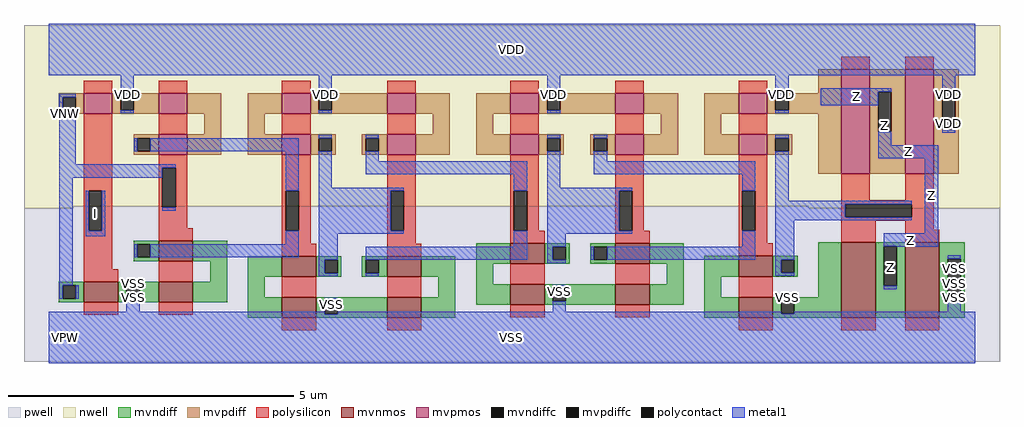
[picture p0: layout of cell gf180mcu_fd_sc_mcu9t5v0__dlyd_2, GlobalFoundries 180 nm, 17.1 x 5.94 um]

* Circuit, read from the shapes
.subckt gf180mcu_fd_sc_mcu9t5v0__dlyd_2 I Z VDD VNW VPW VSS
XM1 VSS I n1 VPW nfet_06v0 w=0.36u l=0.6u
XM2 n2 n1 VSS VPW nfet_06v0 w=0.36u l=0.6u
XM3 n2 n1 n3 VPW nfet_06v0 w=0.36u l=0.6u
XM4 VSS n3 n4 VPW nfet_06v0 w=0.36u l=0.6u
XM5 n5 n3 n4 VPW nfet_06v0 w=0.36u l=0.6u
XM6 n6 n5 VSS VPW nfet_06v0 w=0.36u l=0.6u
XM7 n6 n5 n7 VPW nfet_06v0 w=0.36u l=0.6u
XM8 VSS n7 n8 VPW nfet_06v0 w=0.36u l=0.6u
XM9 n9 n7 n8 VPW nfet_06v0 w=0.36u l=0.6u
XM10 n10 n9 VSS VPW nfet_06v0 w=0.36u l=0.6u
XM11 n10 n9 n11 VPW nfet_06v0 w=0.36u l=0.6u
XM12 VSS n11 n12 VPW nfet_06v0 w=0.36u l=0.6u
XM13 n13 n11 n12 VPW nfet_06v0 w=0.36u l=0.6u
XM14 Z n13 VSS VPW nfet_06v0 w=1.32u l=0.6u m=2
XM15 VDD I n1 VNW pfet_06v0 w=0.36u l=0.5u
XM16 n14 n1 n3 VNW pfet_06v0 w=0.36u l=0.5u
XM17 n14 n1 VDD VNW pfet_06v0 w=0.36u l=0.5u
XM18 n5 n3 n15 VNW pfet_06v0 w=0.36u l=0.5u
XM19 VDD n3 n15 VNW pfet_06v0 w=0.36u l=0.5u
XM20 n16 n5 n7 VNW pfet_06v0 w=0.36u l=0.5u
XM21 n16 n5 VDD VNW pfet_06v0 w=0.36u l=0.5u
XM22 n9 n7 n17 VNW pfet_06v0 w=0.36u l=0.5u
XM23 VDD n7 n17 VNW pfet_06v0 w=0.36u l=0.5u
XM24 n18 n9 n11 VNW pfet_06v0 w=0.36u l=0.5u
XM25 n18 n9 VDD VNW pfet_06v0 w=0.36u l=0.5u
XM26 n13 n11 n19 VNW pfet_06v0 w=0.36u l=0.5u
XM27 VDD n11 n19 VNW pfet_06v0 w=0.36u l=0.5u
XM28 Z n13 VDD VNW pfet_06v0 w=1.83u l=0.5u m=2
.ends

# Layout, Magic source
magic
tech gf180mcuD
magscale 1 10
<< nwell >>
rect -86 459 3334 1094
rect -86 453 86 459
rect 2663 453 3334 459
<< pwell >>
rect 86 453 2663 459
rect -86 -86 3334 453
<< mvnmos >>
rect 386 267 506 339
rect 124 123 244 195
rect 386 123 506 195
rect 818 212 938 284
rect 1186 212 1306 284
rect 818 68 938 140
rect 1186 68 1306 140
rect 1618 258 1738 330
rect 1986 258 2106 330
rect 1618 114 1738 186
rect 1986 114 2106 186
rect 2418 213 2538 285
rect 2418 69 2538 141
rect 2778 69 2898 333
rect 3002 69 3122 333
<< mvpmos >>
rect 124 783 224 855
rect 386 783 486 855
rect 386 639 486 711
rect 818 783 918 855
rect 1186 783 1286 855
rect 818 639 918 711
rect 1186 639 1286 711
rect 1618 783 1718 855
rect 1986 783 2086 855
rect 1618 639 1718 711
rect 1986 639 2086 711
rect 2418 783 2518 855
rect 2418 639 2518 711
rect 2778 574 2878 940
rect 3002 574 3102 940
<< mvndiff >>
rect 298 326 386 339
rect 298 280 311 326
rect 357 280 386 326
rect 298 267 386 280
rect 506 267 626 339
rect 566 195 626 267
rect 36 182 124 195
rect 36 136 49 182
rect 95 136 124 182
rect 36 123 124 136
rect 244 182 386 195
rect 244 136 273 182
rect 319 136 386 182
rect 244 123 386 136
rect 506 123 626 195
rect 698 212 818 284
rect 938 271 1026 284
rect 938 225 967 271
rect 1013 225 1026 271
rect 938 212 1026 225
rect 1098 271 1186 284
rect 1098 225 1111 271
rect 1157 225 1186 271
rect 1098 212 1186 225
rect 1306 212 1426 284
rect 698 140 758 212
rect 1366 140 1426 212
rect 698 68 818 140
rect 938 127 1186 140
rect 938 81 967 127
rect 1013 81 1186 127
rect 938 68 1186 81
rect 1306 68 1426 140
rect 1498 258 1618 330
rect 1738 317 1826 330
rect 1738 271 1767 317
rect 1813 271 1826 317
rect 1738 258 1826 271
rect 1898 317 1986 330
rect 1898 271 1911 317
rect 1957 271 1986 317
rect 1898 258 1986 271
rect 2106 258 2226 330
rect 1498 186 1558 258
rect 2166 186 2226 258
rect 1498 114 1618 186
rect 1738 173 1986 186
rect 1738 127 1767 173
rect 1813 127 1986 173
rect 1738 114 1986 127
rect 2106 114 2226 186
rect 2298 213 2418 285
rect 2538 272 2626 285
rect 2538 226 2567 272
rect 2613 226 2626 272
rect 2538 213 2626 226
rect 2298 141 2358 213
rect 2698 141 2778 333
rect 2298 69 2418 141
rect 2538 128 2778 141
rect 2538 82 2567 128
rect 2613 82 2778 128
rect 2538 69 2778 82
rect 2898 320 3002 333
rect 2898 180 2927 320
rect 2973 180 3002 320
rect 2898 69 3002 180
rect 3122 276 3210 333
rect 3122 136 3151 276
rect 3197 136 3210 276
rect 3122 69 3210 136
<< mvpdiff >>
rect 2698 855 2778 940
rect 36 842 124 855
rect 36 796 49 842
rect 95 796 124 842
rect 36 783 124 796
rect 224 842 386 855
rect 224 796 253 842
rect 299 796 386 842
rect 224 783 386 796
rect 486 783 606 855
rect 546 711 606 783
rect 298 698 386 711
rect 298 652 311 698
rect 357 652 386 698
rect 298 639 386 652
rect 486 639 606 711
rect 698 783 818 855
rect 918 842 1186 855
rect 918 796 947 842
rect 993 796 1186 842
rect 918 783 1186 796
rect 1286 783 1406 855
rect 698 711 758 783
rect 1346 711 1406 783
rect 698 639 818 711
rect 918 698 1006 711
rect 918 652 947 698
rect 993 652 1006 698
rect 918 639 1006 652
rect 1098 698 1186 711
rect 1098 652 1111 698
rect 1157 652 1186 698
rect 1098 639 1186 652
rect 1286 639 1406 711
rect 1498 783 1618 855
rect 1718 842 1986 855
rect 1718 796 1747 842
rect 1793 796 1986 842
rect 1718 783 1986 796
rect 2086 783 2206 855
rect 1498 711 1558 783
rect 2146 711 2206 783
rect 1498 639 1618 711
rect 1718 698 1806 711
rect 1718 652 1747 698
rect 1793 652 1806 698
rect 1718 639 1806 652
rect 1898 698 1986 711
rect 1898 652 1911 698
rect 1957 652 1986 698
rect 1898 639 1986 652
rect 2086 639 2206 711
rect 2298 783 2418 855
rect 2518 842 2778 855
rect 2518 796 2547 842
rect 2593 796 2778 842
rect 2518 783 2778 796
rect 2298 711 2358 783
rect 2298 639 2418 711
rect 2518 698 2606 711
rect 2518 652 2547 698
rect 2593 652 2606 698
rect 2518 639 2606 652
rect 2698 574 2778 783
rect 2878 861 3002 940
rect 2878 721 2907 861
rect 2953 721 3002 861
rect 2878 574 3002 721
rect 3102 868 3190 940
rect 3102 728 3131 868
rect 3177 728 3190 868
rect 3102 574 3190 728
<< mvndiffc >>
rect 311 280 357 326
rect 49 136 95 182
rect 273 136 319 182
rect 967 225 1013 271
rect 1111 225 1157 271
rect 967 81 1013 127
rect 1767 271 1813 317
rect 1911 271 1957 317
rect 1767 127 1813 173
rect 2567 226 2613 272
rect 2567 82 2613 128
rect 2927 180 2973 320
rect 3151 136 3197 276
<< mvpdiffc >>
rect 49 796 95 842
rect 253 796 299 842
rect 311 652 357 698
rect 947 796 993 842
rect 947 652 993 698
rect 1111 652 1157 698
rect 1747 796 1793 842
rect 1747 652 1793 698
rect 1911 652 1957 698
rect 2547 796 2593 842
rect 2547 652 2593 698
rect 2907 721 2953 861
rect 3131 728 3177 868
<< polysilicon >>
rect 2778 940 2878 984
rect 3002 940 3102 984
rect 124 855 224 899
rect 386 855 486 899
rect 818 855 918 899
rect 1186 855 1286 899
rect 1618 855 1718 899
rect 1986 855 2086 899
rect 2418 855 2518 899
rect 124 514 224 783
rect 386 711 486 783
rect 818 711 918 783
rect 1186 711 1286 783
rect 1618 711 1718 783
rect 1986 711 2086 783
rect 2418 711 2518 783
rect 124 374 141 514
rect 187 374 224 514
rect 124 239 224 374
rect 386 595 486 639
rect 386 455 399 595
rect 445 455 486 595
rect 386 383 486 455
rect 818 514 918 639
rect 386 339 506 383
rect 818 374 831 514
rect 877 374 918 514
rect 818 328 918 374
rect 1186 514 1286 639
rect 1186 374 1199 514
rect 1245 374 1286 514
rect 1186 328 1286 374
rect 1618 514 1718 639
rect 1618 374 1631 514
rect 1677 374 1718 514
rect 1986 514 2086 639
rect 1986 374 1999 514
rect 2045 374 2086 514
rect 2418 514 2518 639
rect 2418 374 2431 514
rect 2477 374 2518 514
rect 1618 330 1738 374
rect 1986 330 2106 374
rect 818 284 938 328
rect 1186 284 1306 328
rect 124 195 244 239
rect 386 195 506 267
rect 818 140 938 212
rect 1186 140 1306 212
rect 124 79 244 123
rect 386 79 506 123
rect 2418 329 2518 374
rect 2778 480 2878 574
rect 3002 480 3102 574
rect 2778 467 3102 480
rect 2778 421 2791 467
rect 3025 421 3102 467
rect 2778 408 3102 421
rect 2778 333 2898 408
rect 3002 377 3102 408
rect 3002 333 3122 377
rect 2418 285 2538 329
rect 1618 186 1738 258
rect 1986 186 2106 258
rect 2418 141 2538 213
rect 1618 70 1738 114
rect 1986 70 2106 114
rect 818 24 938 68
rect 1186 24 1306 68
rect 2418 25 2538 69
rect 2778 25 2898 69
rect 3002 25 3122 69
<< polycontact >>
rect 141 374 187 514
rect 399 455 445 595
rect 831 374 877 514
rect 1199 374 1245 514
rect 1631 374 1677 514
rect 1999 374 2045 514
rect 2431 374 2477 514
rect 2791 421 3025 467
<< metal1 >>
rect 0 918 3248 1098
rect 38 842 95 853
rect 38 796 49 842
rect 38 606 95 796
rect 253 842 299 918
rect 253 785 299 796
rect 947 842 993 918
rect 947 785 993 796
rect 1747 842 1793 918
rect 1747 785 1793 796
rect 2547 842 2593 918
rect 2706 861 2953 872
rect 2706 814 2907 861
rect 2547 785 2593 796
rect 947 698 993 709
rect 300 652 311 698
rect 357 652 877 698
rect 38 595 445 606
rect 38 560 399 595
rect 38 182 84 560
rect 130 374 141 514
rect 187 374 198 514
rect 399 444 445 455
rect 831 514 877 652
rect 130 354 198 374
rect 831 326 877 374
rect 300 280 311 326
rect 357 280 877 326
rect 947 525 993 652
rect 1111 698 1157 709
rect 1111 617 1157 652
rect 1747 698 1793 709
rect 1111 571 1677 617
rect 947 514 1245 525
rect 947 374 1199 514
rect 947 363 1245 374
rect 1631 514 1677 571
rect 947 271 1013 363
rect 1631 317 1677 374
rect 947 225 967 271
rect 947 214 1013 225
rect 1111 271 1677 317
rect 1747 525 1793 652
rect 1911 698 1957 709
rect 1911 617 1957 652
rect 2547 698 2593 709
rect 1911 571 2477 617
rect 1747 514 2045 525
rect 1747 374 1999 514
rect 1747 363 2045 374
rect 2431 514 2477 571
rect 1747 317 1813 363
rect 2431 317 2477 374
rect 1747 271 1767 317
rect 1900 271 1911 317
rect 1957 271 2477 317
rect 2547 478 2593 652
rect 2907 673 2953 721
rect 3131 868 3177 918
rect 3131 717 3177 728
rect 2907 627 3117 673
rect 2547 467 3025 478
rect 2547 421 2791 467
rect 2547 410 3025 421
rect 2547 272 2613 410
rect 3071 364 3117 627
rect 1747 260 1813 271
rect 1111 214 1157 225
rect 2547 226 2567 272
rect 2547 215 2613 226
rect 2927 320 3117 364
rect 273 182 319 193
rect 38 136 49 182
rect 95 136 106 182
rect 1767 173 1813 184
rect 273 90 319 136
rect 967 127 1013 138
rect 0 81 967 90
rect 2973 318 3117 320
rect 2927 169 2973 180
rect 3151 276 3197 287
rect 1767 90 1813 127
rect 2567 128 2613 139
rect 1013 82 2567 90
rect 3151 90 3197 136
rect 2613 82 3248 90
rect 1013 81 3248 82
rect 0 -90 3248 81
<< labels >>
flabel metal1 s 130 354 198 514 0 FreeSans 200 0 0 0 I
port 1 nsew default input
flabel metal1 s 0 918 3248 1098 0 FreeSans 200 0 0 0 VDD
port 3 nsew power bidirectional abutment
flabel metal1 s 3151 193 3197 287 0 FreeSans 200 0 0 0 VSS
port 6 nsew ground bidirectional abutment
flabel metal1 s 2706 814 2953 872 0 FreeSans 200 0 0 0 Z
port 2 nsew default output
flabel nwell s 10 734 110 834 0 FreeSans 400 0 0 0 VNW
port 4 nsew power bidirectional
flabel pwell s 10 -50 110 50 0 FreeSans 400 0 0 0 VPW
port 5 nsew ground bidirectional
rlabel metal1 s 2907 673 2953 814 1 Z
port 2 nsew default output
rlabel metal1 s 2907 627 3117 673 1 Z
port 2 nsew default output
rlabel metal1 s 3071 364 3117 627 1 Z
port 2 nsew default output
rlabel metal1 s 2927 318 3117 364 1 Z
port 2 nsew default output
rlabel metal1 s 2927 169 2973 318 1 Z
port 2 nsew default output
rlabel metal1 s 3131 785 3177 918 1 VDD
port 3 nsew power bidirectional abutment
rlabel metal1 s 2547 785 2593 918 1 VDD
port 3 nsew power bidirectional abutment
rlabel metal1 s 1747 785 1793 918 1 VDD
port 3 nsew power bidirectional abutment
rlabel metal1 s 947 785 993 918 1 VDD
port 3 nsew power bidirectional abutment
rlabel metal1 s 253 785 299 918 1 VDD
port 3 nsew power bidirectional abutment
rlabel metal1 s 3131 717 3177 785 1 VDD
port 3 nsew power bidirectional abutment
rlabel metal1 s 3151 184 3197 193 1 VSS
port 6 nsew ground bidirectional abutment
rlabel metal1 s 273 184 319 193 1 VSS
port 6 nsew ground bidirectional abutment
rlabel metal1 s 3151 139 3197 184 1 VSS
port 6 nsew ground bidirectional abutment
rlabel metal1 s 1767 139 1813 184 1 VSS
port 6 nsew ground bidirectional abutment
rlabel metal1 s 273 139 319 184 1 VSS
port 6 nsew ground bidirectional abutment
rlabel metal1 s 3151 138 3197 139 1 VSS
port 6 nsew ground bidirectional abutment
rlabel metal1 s 2567 138 2613 139 1 VSS
port 6 nsew ground bidirectional abutment
rlabel metal1 s 1767 138 1813 139 1 VSS
port 6 nsew ground bidirectional abutment
rlabel metal1 s 273 138 319 139 1 VSS
port 6 nsew ground bidirectional abutment
rlabel metal1 s 3151 90 3197 138 1 VSS
port 6 nsew ground bidirectional abutment
rlabel metal1 s 2567 90 2613 138 1 VSS
port 6 nsew ground bidirectional abutment
rlabel metal1 s 1767 90 1813 138 1 VSS
port 6 nsew ground bidirectional abutment
rlabel metal1 s 967 90 1013 138 1 VSS
port 6 nsew ground bidirectional abutment
rlabel metal1 s 273 90 319 138 1 VSS
port 6 nsew ground bidirectional abutment
rlabel metal1 s 0 -90 3248 90 1 VSS
port 6 nsew ground bidirectional abutment
<< properties >>
string FIXED_BBOX 0 0 3248 1008
string GDS_END 754948
string GDS_FILE $PDKPATH/libs.ref/gf180mcu_fd_sc_mcu9t5v0/gds/gf180mcu_fd_sc_mcu9t5v0.gds
string GDS_START 747662
string LEFclass core
string LEFsite GF018hv5v_green_sc9
string LEFsymmetry X Y
<< end >>
